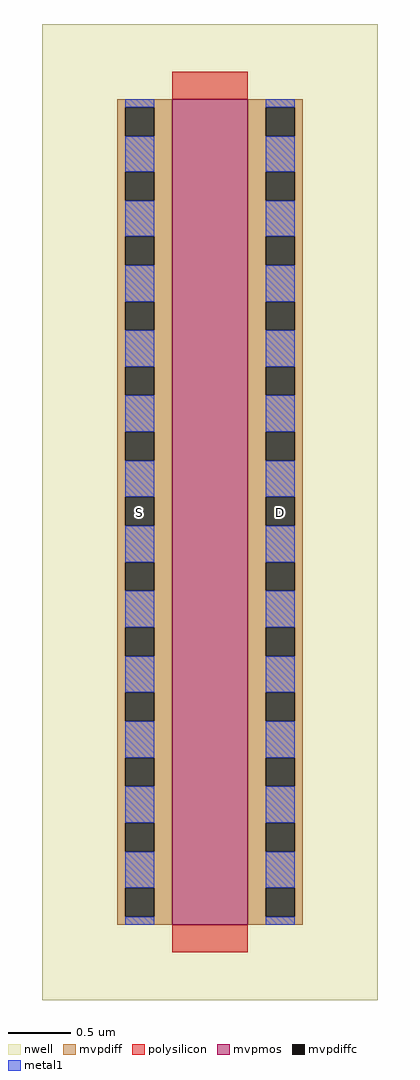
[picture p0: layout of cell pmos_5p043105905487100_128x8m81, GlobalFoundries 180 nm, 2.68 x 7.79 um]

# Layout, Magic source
magic
tech gf180mcuC
magscale 1 10
<< nwell >>
rect -208 -120 328 1438
<< mvpmos >>
rect 0 0 120 1318
<< mvpdiff >>
rect -88 1305 0 1318
rect -88 1259 -75 1305
rect -29 1259 0 1305
rect -88 1202 0 1259
rect -88 1156 -75 1202
rect -29 1156 0 1202
rect -88 1099 0 1156
rect -88 1053 -75 1099
rect -29 1053 0 1099
rect -88 995 0 1053
rect -88 949 -75 995
rect -29 949 0 995
rect -88 891 0 949
rect -88 845 -75 891
rect -29 845 0 891
rect -88 787 0 845
rect -88 741 -75 787
rect -29 741 0 787
rect -88 683 0 741
rect -88 637 -75 683
rect -29 637 0 683
rect -88 579 0 637
rect -88 533 -75 579
rect -29 533 0 579
rect -88 475 0 533
rect -88 429 -75 475
rect -29 429 0 475
rect -88 371 0 429
rect -88 325 -75 371
rect -29 325 0 371
rect -88 267 0 325
rect -88 221 -75 267
rect -29 221 0 267
rect -88 163 0 221
rect -88 117 -75 163
rect -29 117 0 163
rect -88 59 0 117
rect -88 13 -75 59
rect -29 13 0 59
rect -88 0 0 13
rect 120 1305 208 1318
rect 120 1259 149 1305
rect 195 1259 208 1305
rect 120 1202 208 1259
rect 120 1156 149 1202
rect 195 1156 208 1202
rect 120 1099 208 1156
rect 120 1053 149 1099
rect 195 1053 208 1099
rect 120 995 208 1053
rect 120 949 149 995
rect 195 949 208 995
rect 120 891 208 949
rect 120 845 149 891
rect 195 845 208 891
rect 120 787 208 845
rect 120 741 149 787
rect 195 741 208 787
rect 120 683 208 741
rect 120 637 149 683
rect 195 637 208 683
rect 120 579 208 637
rect 120 533 149 579
rect 195 533 208 579
rect 120 475 208 533
rect 120 429 149 475
rect 195 429 208 475
rect 120 371 208 429
rect 120 325 149 371
rect 195 325 208 371
rect 120 267 208 325
rect 120 221 149 267
rect 195 221 208 267
rect 120 163 208 221
rect 120 117 149 163
rect 195 117 208 163
rect 120 59 208 117
rect 120 13 149 59
rect 195 13 208 59
rect 120 0 208 13
<< mvpdiffc >>
rect -75 1259 -29 1305
rect -75 1156 -29 1202
rect -75 1053 -29 1099
rect -75 949 -29 995
rect -75 845 -29 891
rect -75 741 -29 787
rect -75 637 -29 683
rect -75 533 -29 579
rect -75 429 -29 475
rect -75 325 -29 371
rect -75 221 -29 267
rect -75 117 -29 163
rect -75 13 -29 59
rect 149 1259 195 1305
rect 149 1156 195 1202
rect 149 1053 195 1099
rect 149 949 195 995
rect 149 845 195 891
rect 149 741 195 787
rect 149 637 195 683
rect 149 533 195 579
rect 149 429 195 475
rect 149 325 195 371
rect 149 221 195 267
rect 149 117 195 163
rect 149 13 195 59
<< polysilicon >>
rect 0 1318 120 1362
rect 0 -44 120 0
<< metal1 >>
rect -75 1305 -29 1318
rect -75 1202 -29 1259
rect -75 1099 -29 1156
rect -75 995 -29 1053
rect -75 891 -29 949
rect -75 787 -29 845
rect -75 683 -29 741
rect -75 579 -29 637
rect -75 475 -29 533
rect -75 371 -29 429
rect -75 267 -29 325
rect -75 163 -29 221
rect -75 59 -29 117
rect -75 0 -29 13
rect 149 1305 195 1318
rect 149 1202 195 1259
rect 149 1099 195 1156
rect 149 995 195 1053
rect 149 891 195 949
rect 149 787 195 845
rect 149 683 195 741
rect 149 579 195 637
rect 149 475 195 533
rect 149 371 195 429
rect 149 267 195 325
rect 149 163 195 221
rect 149 59 195 117
rect 149 0 195 13
<< labels >>
flabel metal1 s -52 659 -52 659 0 FreeSans 400 0 0 0 S
flabel metal1 s 172 659 172 659 0 FreeSans 400 0 0 0 D
<< properties >>
string GDS_END 757380
string GDS_FILE $PDKPATH/libs.ref/gf180mcu_fd_ip_sram/gds/gf180mcu_fd_ip_sram__sram128x8m8wm1.gds
string GDS_START 754756
<< end >>
